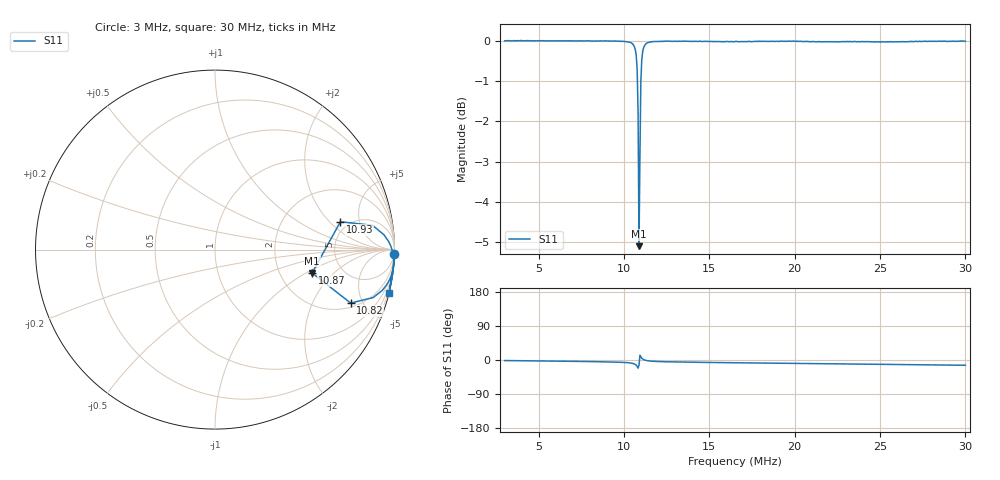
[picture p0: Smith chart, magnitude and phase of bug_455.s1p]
# HZ S RI R 50
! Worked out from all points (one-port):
!   505 points, 3 MHz to 30 MHz, reference 50 ohm
!   lowest |S11| = -5.1 dB at 10.87 MHz (marker M1), VSWR 3.51, Z = 152 - j57.1 ohm
!   |S11| at or under -10 dB: nowhere
!   S11 on the Smith chart (normalised r, x): 3 MHz: 1, -77; 10.82 MHz: 2.29, -4.01; 10.87 MHz: 3.03, -1.14; 10.93 MHz: 4.25, +2.70; 30 MHz: 0.05, -8.22
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3000000  0.9992 -0.026
6374973  0.9977 -0.0561
8785668  0.9953 -0.0826
9749946  0.9935 -0.1018
1.007137e7  0.9911 -0.1139
1.033923e7  0.9866 -0.1327
1.049994e7  0.9789 -0.1549
1.060708e7  0.9662 -0.1803
1.066065e7  0.9537 -0.1999
1.071422e7  0.9307 -0.2283
1.07678e7  0.8807 -0.2674
1.082137e7  0.7556 -0.2978
1.087494e7  0.541 -0.13
1.092851e7  0.6988 0.1553
1.098208e7  0.8778 0.1353
1.103565e7  0.9419 0.0821
1.108922e7  0.968 0.0443
1.114279e7  0.9799 0.0188
1.119636e7  0.9856 0.00116
1.13035e7  0.9918 -0.0222
1.141065e7  0.9941 -0.0363
1.173207e7  0.9956 -0.0601
1.312492e7  0.9936 -0.0919
1.649989e7  0.9892 -0.1264
1.987486e7  0.9862 -0.1557
2.324984e7  0.9805 -0.184
2.662481e7  0.9747 -0.2103
2.999978e7  0.9694 -0.2393
